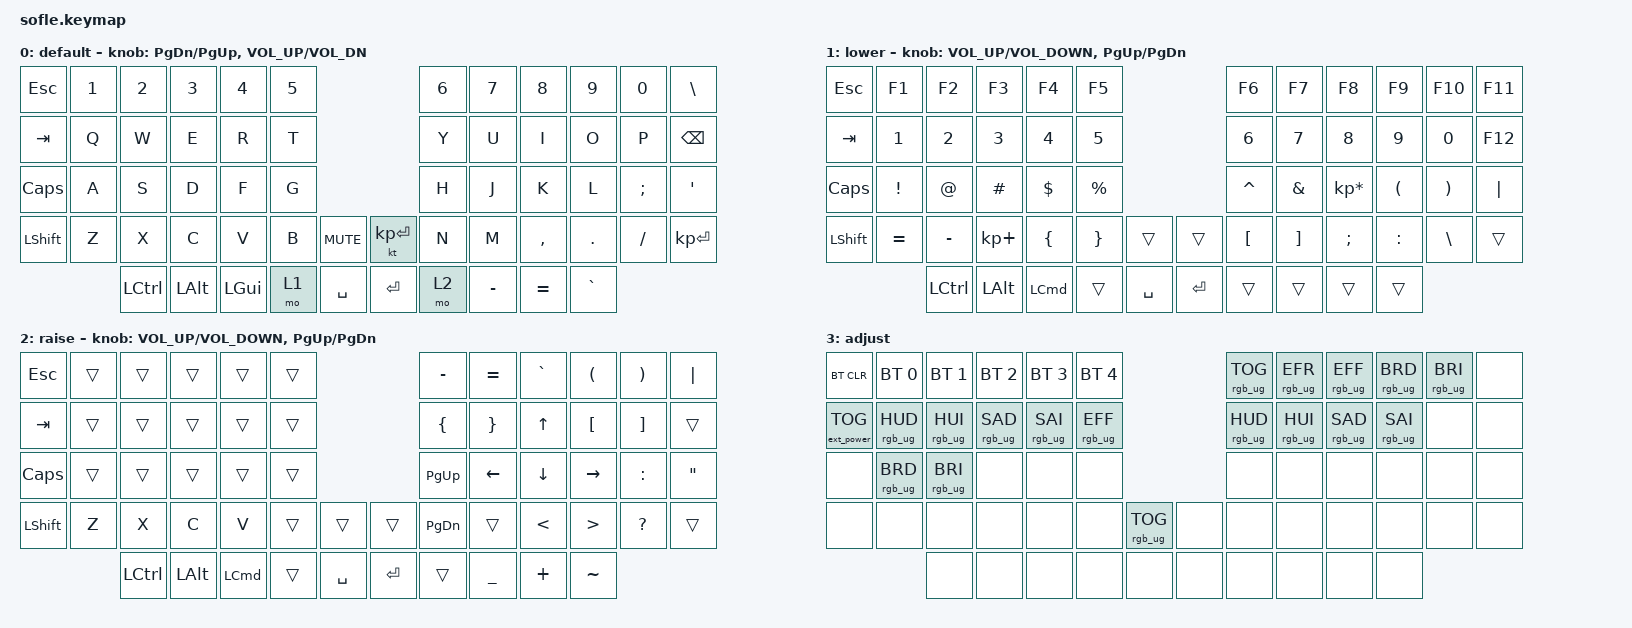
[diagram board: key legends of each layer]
/*
 * Copyright (c) 2020 The ZMK Contributors
 *
 * SPDX-License-Identifier: MIT
 */

#include <behaviors.dtsi>
#include <dt-bindings/zmk/bt.h>
#include <dt-bindings/zmk/ext_power.h>
#include <dt-bindings/zmk/keys.h>
#include <dt-bindings/zmk/keys.h>
#include <dt-bindings/zmk/rgb.h>

#define BASE 0
#define LOWER 1
#define RAISE 2
#define ADJUST 3

/ {
    // Activate ADJUST layer by pressing raise and lower

    conditional_layers {
        compatible = "zmk,conditional-layers";

        adjust_layer {
            if-layers = <1 2>;
            then-layer = <3>;
        };
    };

    keymap {
        compatible = "zmk,keymap";

        default_layer {
            label = "default";

            // ------------------------------------------------------------------------------------------------------------
            // |   `   |  1  |  2  |  3   |  4   |  5   |                   |  6   |  7    |  8    |  9   |   0   |       |
            // |  ESC  |  Q  |  W  |  E   |  R   |  T   |                   |  Y   |  U    |  I    |  O   |   P   | BKSPC |
            // |  TAB  |  A  |  S  |  D   |  F   |  G   |                   |  H   |  J    |  K    |  L   |   ;   |   '   |
            // | SHIFT |  Z  |  X  |  C   |  V   |  B   |  MUTE  |  |       |  N   |  M    |  ,    |  .   |   /   | SHIFT |
            //               | GUI | ALT  | CTRL | LOWER|  ENTER |  | SPACE | RAISE| CTRL  | ALT   | GUI  |

            bindings = <
&kp ESC    &kp N1  &kp N2     &kp N3    &kp N4    &kp N5                              &kp N6  &kp N7     &kp N8     &kp N9     &kp N0    &kp BACKSLASH
&kp TAB    &kp Q   &kp W      &kp E     &kp R     &kp T                               &kp Y   &kp U      &kp I      &kp O      &kp P     &kp BACKSPACE
&kp CAPS   &kp A   &kp S      &kp D     &kp F     &kp G                               &kp H   &kp J      &kp K      &kp L      &kp SEMI  &kp SQT
&kp LSHFT  &kp Z   &kp X      &kp C     &kp V     &kp B   &kp K_MUTE    &kt KP_ENTER  &kp N   &kp M      &kp COMMA  &kp DOT    &kp FSLH  &kp KP_ENTER
                   &kp LCTRL  &kp LALT  &kp LGUI  &mo 1   &kp SPACE     &kp RET       &mo 2   &kp MINUS  &kp EQUAL  &kp GRAVE
            >;

            sensor-bindings =
                <&inc_dec_kp PAGE_DOWN PAGE_UP>,
                <&inc_dec_kp C_VOL_UP C_VOL_DN>;
        };

        lower_layer {
            label = "lower";

            // TODO: Some binds are waiting for shifted keycode support.
            // ------------------------------------------------------------------------------------------------------------
            // |       |  F1 |  F2 |  F3  |  F4  |  F5  |                   |  F6  |  F7   |  F8   |  F9  |  F10  |  F11  |
            // |   `   |  1  |  2  |  3   |  4   |  5   |                   |  6   |  7    |  8    |  9   |   0   |  F12  |
            // |       |  !  |  @  |  #   |  $   |  %   |                   |  ^   |  &    |  *    |  (   |   )   |   |   |
            // |       |  =  |  -  |  +   |  {   |  }   |        |  |       |  [   |  ]    |  ;    |  :   |   \   |       |
            //               |     |      |      |      |        |  |       |      |       |       |      |

            bindings = <
&kp ESC    &kp F1     &kp F2     &kp F3        &kp F4    &kp F5                             &kp F6     &kp F7    &kp F8           &kp F9     &kp F10   &kp F11
&kp TAB    &kp N1     &kp N2     &kp N3        &kp N4    &kp N5                             &kp N6     &kp N7    &kp N8           &kp N9     &kp N0    &kp F12
&kp CAPS   &kp EXCL   &kp AT     &kp HASH      &kp DLLR  &kp PRCNT                          &kp CARET  &kp AMPS  &kp KP_MULTIPLY  &kp LPAR   &kp RPAR  &kp PIPE
&kp LSHFT  &kp EQUAL  &kp MINUS  &kp KP_PLUS   &kp LBRC  &kp RBRC   &trans       &trans     &kp LBKT   &kp RBKT  &kp SEMI         &kp COLON  &kp BSLH  &trans
                      &kp LCTRL  &kp LEFT_ALT  &kp LCMD  &trans     &kp SPACE    &kp ENTER  &trans     &trans    &trans           &trans
            >;

            sensor-bindings =
                <&inc_dec_kp K_VOLUME_UP K_VOLUME_DOWN>,
                <&inc_dec_kp PG_UP PG_DN>;
        };

        raise_layer {
            label = "raise";

            // ------------------------------------------------------------------------------------------------------------
            // | BTCLR | BT1  | BT2  |  BT3  |  BT4  |  BT5 |                |      |      |       |      |       |       |
            // |       | INS  | PSCR | GUI   |       |      |                | PGUP |      |   ^   |      |       |       |
            // |       | ALT  | CTRL | SHIFT |       | CAPS |                | PGDN |   <- |   v   |  ->  |  DEL  | BKSPC |
            // |       | UNDO | CUT  | COPY  | PASTE |      |      |  |      |      |      |       |      |       |       |
            //                |      |       |       |      |      |  |      |      |      |       |      |

            bindings = <
&kp ESC    &trans  &trans            &trans        &trans    &trans                          &kp MINUS       &kp EQUAL        &kp GRAVE      &kp LPAR          &kp RPAR           &kp PIPE
&kp TAB    &trans  &trans            &trans        &trans    &trans                          &kp LEFT_BRACE  &kp RIGHT_BRACE  &kp UP         &kp LEFT_BRACKET  &kp RIGHT_BRACKET  &trans
&kp CAPS   &trans  &trans            &trans        &trans    &trans                          &kp PG_UP       &kp LEFT         &kp DOWN       &kp RIGHT         &kp COLON          &kp DOUBLE_QUOTES
&kp LSHFT  &kp Z   &kp X             &kp C         &kp V     &trans  &trans       &trans     &kp PG_DN       &trans           &kp LESS_THAN  &kp GREATER_THAN  &kp QUESTION       &trans
                   &kp LEFT_CONTROL  &kp LEFT_ALT  &kp LCMD  &trans  &kp SPACE    &kp ENTER  &trans          &kp UNDERSCORE   &kp PLUS       &kp TILDE
            >;

            sensor-bindings =
                <&inc_dec_kp K_VOLUME_UP K_VOLUME_DOWN>,
                <&inc_dec_kp PG_UP PG_DN>;
        };

        adjust_layer {
            // ----------------------------------------------------------------------------------------------------------------------------
            // | BTCLR  |  BT1    |  BT2    |   BT3   |   BT4   |   BT5   |                  |      |      |       |      |       |       |
            // | EXTPWR | RGB_HUD | RGB_HUI | RGB_SAD | RGB_SAI | RGB_EFF |                  |      |      |       |      |       |       |
            // |        | RGB_BRD | RGB_BRI |         |         |         |                  |      |      |       |      |       |       |
            // |        |         |         |         |         |         | RGB_TOG | |      |      |      |       |      |       |       |
            //                    |         |         |         |         |         | |      |      |      |       |      |

            label = "adjust";
            bindings = <
&bt BT_CLR         &bt BT_SEL 0     &bt BT_SEL 1     &bt BT_SEL 2     &bt BT_SEL 3     &bt BT_SEL 4                               &rgb_ug RGB_TOG  &rgb_ug RGB_EFR  &rgb_ug RGB_EFF  &rgb_ug RGB_BRD  &rgb_ug RGB_BRI  &none
&ext_power EP_TOG  &rgb_ug RGB_HUD  &rgb_ug RGB_HUI  &rgb_ug RGB_SAD  &rgb_ug RGB_SAI  &rgb_ug RGB_EFF                            &rgb_ug RGB_HUD  &rgb_ug RGB_HUI  &rgb_ug RGB_SAD  &rgb_ug RGB_SAI  &none            &none
&none              &rgb_ug RGB_BRD  &rgb_ug RGB_BRI  &none            &none            &none                                      &none            &none            &none            &none            &none            &none
&none              &none            &none            &none            &none            &none            &rgb_ug RGB_TOG    &none  &none            &none            &none            &none            &none            &none
                                    &none            &none            &none            &none            &none              &none  &none            &none            &none            &none
            >;
        };
    };
};
